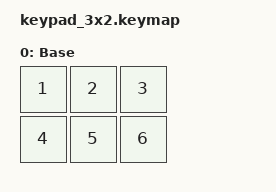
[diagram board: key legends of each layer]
#include <behaviors.dtsi>
#include <dt-bindings/zmk/keys.h>

/ {
    keymap {
        compatible = "zmk,keymap";

        default_layer {
            display-name = "Base";
            bindings = <
                &kp N1 &kp N2 &kp N3
                &kp N4 &kp N5 &kp N6
            >;
        };
    };
};
